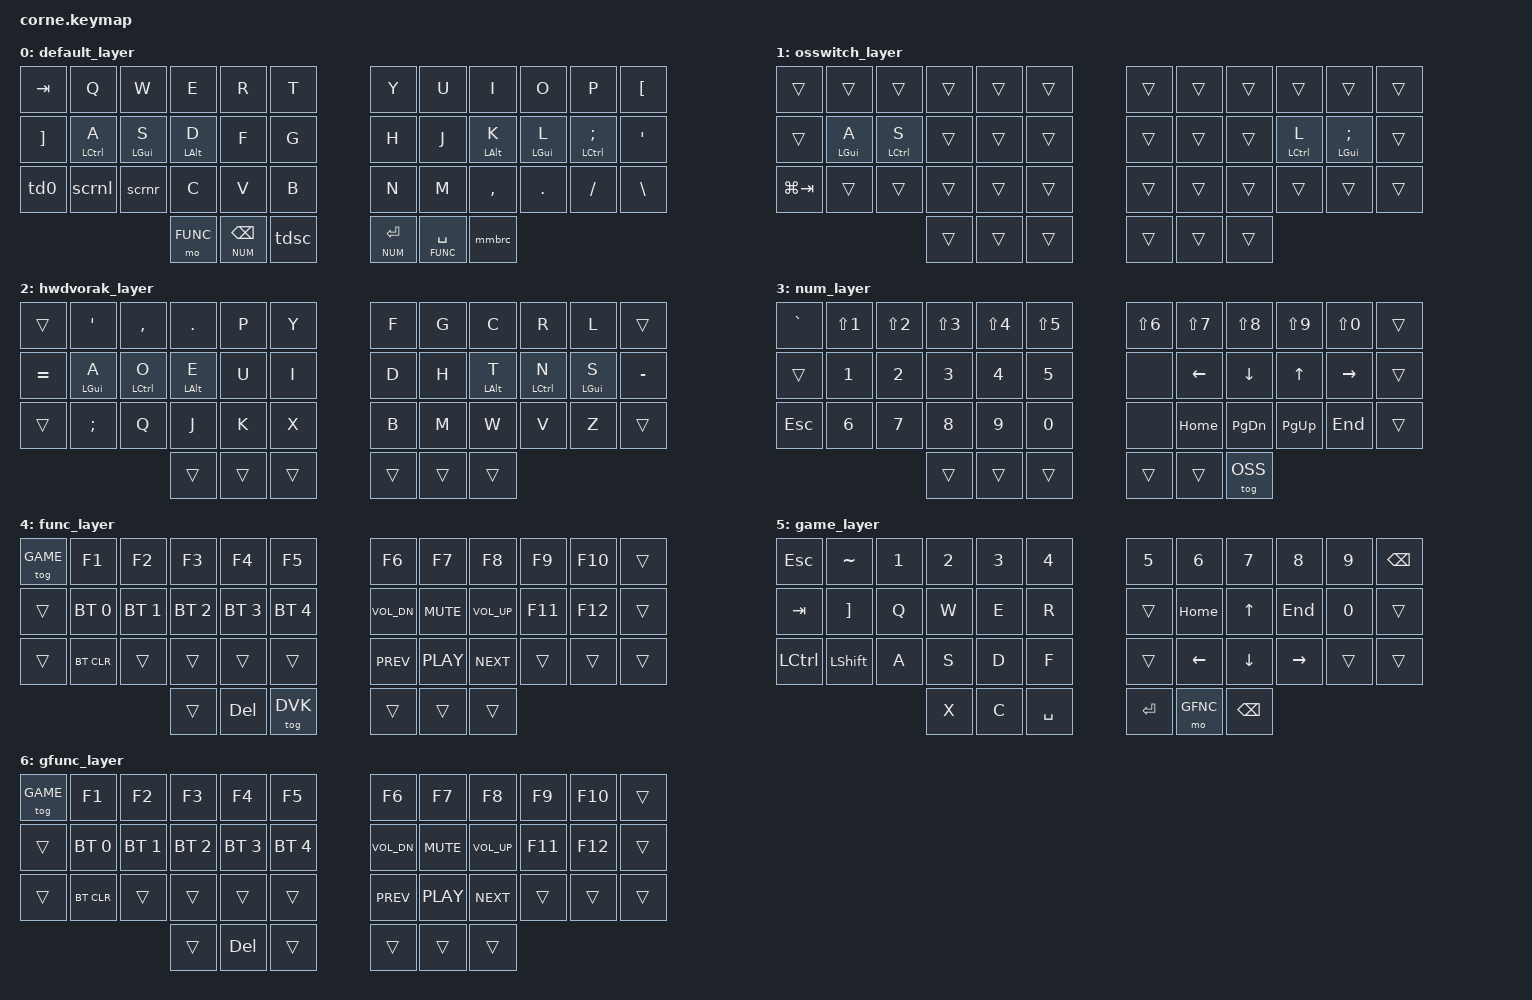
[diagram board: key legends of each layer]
/*
 * Copyright (c) 2020 The ZMK Contributors
 *
 * SPDX-License-Identifier: MIT
 */

#include <behaviors.dtsi>
#include <dt-bindings/zmk/keys.h>
#include <dt-bindings/zmk/bt.h>

#define DEF 0
#define OSS 1
#define DVK 2
#define NUM 3
#define FUNC 4
#define GAME 5
#define GFNC 6

/ {
    behaviors {
        hm: homerow_mods {
            compatible = "zmk,behavior-hold-tap";
            #binding-cells = <2>;
            tapping-term-ms = <250>;
            flavor = "tap-preferred";
            bindings = <&kp>, <&kp>;
        };

        scrnl: screen_left {
            compatible = "zmk,behavior-mod-morph";
            #binding-cells = <0>;
            bindings = <&hm LC(A) Z>, <&kp LEFT>;

            mods = <(MOD_LCTL)>;
            keep-mods = <(MOD_LCTL)>;
        };

        scrnr: screen_right {
            compatible = "zmk,behavior-mod-morph";
            #binding-cells = <0>;
            bindings = <&hm LC(D) X>, <&kp RIGHT>;

            mods = <(MOD_LCTL)>;
            keep-mods = <(MOD_LCTL)>;
        };

        mmbrc: mod_morph_brace {
            compatible = "zmk,behavior-mod-morph";
            #binding-cells = <0>;
            bindings = <&kp MINUS>, <&kp EQUAL>;

            mods = <(MOD_LCTL)>;
        };

        shdel: shift_delete {
            compatible = "zmk,behavior-mod-morph";
            #binding-cells = <0>;
            bindings = <&kp BSPC>, <&kp DEL>;

            mods = <(MOD_LSFT)>;
        };

        td0: tap_dance_0 {
            compatible = "zmk,behavior-tap-dance";
            #binding-cells = <0>;
            tapping-term-ms = <200>;
            bindings = <&hm LCTRL LC(UP)>, <&kp LC(DOWN)>;
        };

        tdsc: tap_dance_shiftcap {
            compatible = "zmk,behavior-tap-dance";
            label = "TD Shift Caps";
            #binding-cells = <0>;
            bindings = <&kp LSHFT>, <&kp CAPS>;
        };
    };

    keymap {
        compatible = "zmk,keymap";

        default_layer {
            // -----------------------------------------------------------------------------------------
            // | TAB  |  Q  |  W  |  E  |  R  |  T  |              |  Y  |  U  |  I  |  O  |  P  | LBKT |
            // | EQL  |  A  |  S  |  D  |  F  |  G  |              |  H  |  J  |  K  |  L  |  ;  |  '   |
            // | SCRN |  Z  |  X  |  C  |  V  |  B  |              |  N  |  M  |  ,  |  .  |  /  |   \  |
            //                    | FUNC|    BSPC   | NUM |  | FUNC|    SPC    |  -  |                   

            bindings = <
&kp TAB   &kp Q        &kp W       &kp E       &kp R          &kp T    &kp Y           &kp U           &kp I       &kp O       &kp P           &kp LBKT
&kp RBKT  &hm LCTRL A  &hm LGUI S  &hm LALT D  &kp F          &kp G    &kp H           &kp J           &hm LALT K  &hm LGUI L  &hm LCTRL SEMI  &kp SQT
&td0      &scrnl       &scrnr      &kp C       &kp V          &kp B    &kp N           &kp M           &kp COMMA   &kp DOT     &kp FSLH        &kp BSLH
                                   &mo FUNC    &lt NUM BSPC   &tdsc    &lt NUM ENTER   &lt FUNC SPACE  &mmbrc   
            >;
        };

        osswitch_layer {
            // Layer toggle used to swap control and gui buttons so that key combos are the same between Mac and Windows
            // -----------------------------------------------------------------------------------------
            // |      |     |     |     |     |     |              |     |     |     |     |     |      |
            // |      |GUI/A|CTL/S|     |     |     |              |     |     |     |CTL/L|GUI/;|      |
            // |      |     |     |     |     |     |              |     |     |     |     |     |      |
            // |   ^  |  <  |  >  |     |           |     |  |     |           |     |     |     |      |

            bindings = <
&trans       &trans        &trans         &trans  &trans  &trans  &trans  &trans  &trans  &trans       &trans         &trans
&trans       &hm LGUI A    &hm LCTRL S    &trans  &trans  &trans  &trans  &trans  &trans  &hm LCTRL L  &hm LGUI SCLN  &trans
&kp LG(TAB)  &trans        &trans         &trans  &trans  &trans  &trans  &trans  &trans  &trans       &trans         &trans
                           &trans         &trans  &trans  &trans  &trans  &trans  
            >;
        };

        hwdvorak_layer {
            // Dvorak layer when using a device that doesn't have software keyboard layout
            // -----------------------------------------------------------------------------------------
            // |      |  '  |  ,  |  .  |  P  |  Y  |              |  F  |  G  |  C  |  R  |  L  |  /   |
            // |      |  A  |  O  |  E  |  U  |  I  |              |  D  |  H  |  T  |  N  |  S  |  -   |
            // |      |  ;  |  Q  |  J  |  K  |  X  |              |  B  |  M  |  W  |  V  |  Z  |  \   |
            // |      |     |     |     |           |     |  |     |           |     |     |     |      |

            bindings = <
&trans     &kp QUOT    &kp COMMA    &kp DOT     &kp P   &kp Y   &kp F   &kp G   &kp C       &kp R        &kp L       &trans
&kp EQUAL  &hm LGUI A  &hm LCTRL O  &hm LALT E  &kp U   &kp I   &kp D   &kp H   &hm LALT T  &hm LCTRL N  &hm LGUI S  &kp MINUS
&trans     &kp SEMI    &kp Q        &kp J       &kp K   &kp X   &kp B   &kp M   &kp W       &kp V        &kp Z       &trans
                                    &trans      &trans  &trans  &trans  &trans  &trans     
            >;
        };

        num_layer {
            // -----------------------------------------------------------------------------------------
            // | ESC` |  !  |  @  |  #  |  $  |  %  |              |  ^  |  &  |  *  |  (  |  )  |      |
            // |      |  1  |  2  |  3  |  4  |  5  |              |     |  <  |  v  |  ^  |  >  |      |
            // |      |  6  |  7  |  8  |  9  |  0  |              |     | HOM | PGD | PGU | END |      |
            // | BOOT |  Q  |  W  |  E  |           | NUM |  |     |           |     |     |     |      |

            bindings = <
&kp GRAVE    &kp LS(N1)  &kp LS(N2)  &kp LS(N3)  &kp LS(N4)  &kp LS(N5)  &kp LS(N6)  &kp LS(N7)  &kp LS(N8)  &kp LS(N9)  &kp LS(N0)  &trans
&trans       &kp N1      &kp N2      &kp N3      &kp N4      &kp N5      &none       &kp LEFT    &kp DOWN    &kp UP      &kp RIGHT   &trans
&kp ESC      &kp N6      &kp N7      &kp N8      &kp N9      &kp N0      &none       &kp HOME    &kp PG_DN   &kp PG_UP   &kp END     &trans
                                     &trans      &trans      &trans      &trans      &trans      &tog OSS      
            >;
        };

        func_layer {
            // -----------------------------------------------------------------------------------------
            // | GAME |  F1 |  F2 |  F3 |  F4 |  F5 |              |  F6 |  F7 |  F8 |  F9 | F10 |      |
            // |      | BT0 | BT1 | BT2 | BT3 |     |              |     |     |     | F11 | F12 |      |
            // |      | BTC |     |     |     |     |              |     |     | VOLU| MUTE| VOLD|      |
            // |      |     |     |     |    DEL    | DVK |  |     |           | PRV | PLY | NXT | BOOT |

            bindings = <
&tog GAME  &kp F1        &kp F2        &kp F3        &kp F4        &kp F5         &kp F6        &kp F7      &kp F8        &kp F9     &kp F10    &trans
&trans     &bt BT_SEL 0  &bt BT_SEL 1  &bt BT_SEL 2  &bt BT_SEL 3  &bt BT_SEL 4   &kp C_VOL_DN  &kp C_MUTE  &kp C_VOL_UP  &kp F11    &kp F12    &trans
&trans     &bt BT_CLR    &trans        &trans        &trans        &trans         &kp C_PREV    &kp C_PLAY  &kp C_NEXT    &trans     &trans     &trans
                                       &trans        &kp DEL       &tog DVK       &trans        &trans      &trans  
            >;
        };

        game_layer {
            // -----------------------------------------------------------------------------------------
            // | ESC  |  1  |  2  |  3  |  4  |  5  |              |  6  |  7  |  8  |  9  |  0  | BSPC |
            // | TAB  |  Q  |  W  |  E  |  R  |  T  |              |  Y  |  J  | HOM |  ^  | END | PGU  |
            // | SHFT |  A  |  S  |  D  |  F  |  G  |              |  N  |  M  |  <  |  v  |  >  | PGD  |
            // | CTRL |  Z  |  X  |  C  |    SPC    |  V  |  | FUNC|           | DEL | ALT | GUI | ENT  |

            bindings = <
&kp ESC    &kp TILDE  &kp N1  &kp N2  &kp N3     &kp N4     &kp N5    &kp N6    &kp N7    &kp N8        &kp N9        &kp BSPC
&kp TAB    &kp RBKT   &kp Q   &kp W   &kp E      &kp R      &trans    &kp HOME  &kp UP    &kp END       &kp N0        &trans  
&kp LCTRL  &kp LSHIFT &kp A   &kp S   &kp D      &kp F      &trans    &kp LEFT  &kp DOWN  &kp RIGHT     &trans        &trans
                              &kp X   &kp C      &kp SPACE  &kp ENTER &mo GFNC  &kp BSPC    
            >;
        };

        gfunc_layer {
            // -----------------------------------------------------------------------------------------
            // | GAME |  F1 |  F2 |  F3 |  F4 |  F5 |              |  F6 |  F7 |  F8 |  F9 | F10 |      |
            // |      | BT0 | BT1 | BT2 | BT3 |     |              |     |     |     | F11 | F12 |      |
            // |      | BTC |     |     |     |     |              |     |     | VOLU| MUTE| VOLD|      |
            // |      |     |     |     |    DEL    | DVK |  |     |           | PRV | PLY | NXT | BOOT |

            bindings = <
&tog GAME  &kp F1        &kp F2        &kp F3        &kp F4        &kp F5         &kp F6        &kp F7      &kp F8        &kp F9     &kp F10    &trans
&trans     &bt BT_SEL 0  &bt BT_SEL 1  &bt BT_SEL 2  &bt BT_SEL 3  &bt BT_SEL 4   &kp C_VOL_DN  &kp C_MUTE  &kp C_VOL_UP  &kp F11    &kp F12    &trans
&trans     &bt BT_CLR    &trans        &trans        &trans        &trans         &kp C_PREV    &kp C_PLAY  &kp C_NEXT    &trans     &trans     &trans
                                       &trans        &kp DEL       &trans         &trans        &trans      &trans  
            >;
        };
    };
};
